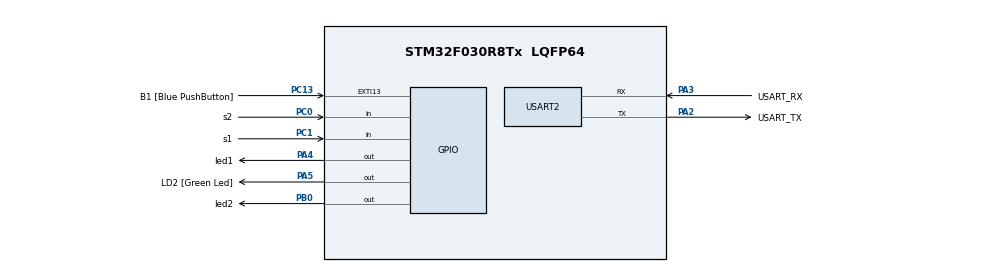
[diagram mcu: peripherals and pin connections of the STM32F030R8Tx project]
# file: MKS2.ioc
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Mcu.Family=STM32F0
Mcu.Name=STM32F030R8Tx
Mcu.Package=LQFP64
PA13.GPIO_Label=TMS
PA13.Mode=Serial_Wire
PA13.Signal=SYS_SWDIO
PA14.GPIO_Label=TCK
PA14.Mode=Serial_Wire
PA14.Signal=SYS_SWCLK
PA2.GPIO_Label=USART_TX
PA2.GPIO_Mode=GPIO_MODE_AF_PP
PA2.GPIO_PuPd=GPIO_NOPULL
PA2.GPIO_Speed=GPIO_SPEED_FREQ_LOW
PA2.Mode=Asynchronous
PA2.Signal=USART2_TX
PA3.GPIO_Label=USART_RX
PA3.GPIO_Mode=GPIO_MODE_AF_PP
PA3.GPIO_PuPd=GPIO_NOPULL
PA3.GPIO_Speed=GPIO_SPEED_FREQ_LOW
PA3.Mode=Asynchronous
PA3.Signal=USART2_RX
PA4.GPIO_Label=led1
PA4.Signal=GPIO_Output
PA5.GPIO_Label=LD2 [Green Led]
PA5.GPIO_Mode=GPIO_MODE_OUTPUT_PP
PA5.GPIO_PuPd=GPIO_NOPULL
PA5.GPIO_Speed=GPIO_SPEED_FREQ_LOW
PA5.Signal=GPIO_Output
PB0.GPIO_Label=led2
PB0.Signal=GPIO_Output
PC0.GPIO_Label=s2
PC0.GPIO_PuPd=GPIO_PULLUP
PC0.Signal=GPIO_Input
PC1.GPIO_Label=s1
PC1.GPIO_PuPd=GPIO_PULLUP
PC1.Signal=GPIO_Input
PC13.GPIO_Label=B1 [Blue PushButton]
PC13.GPIO_ModeDefaultEXTI=GPIO_MODE_IT_FALLING
PC13.Signal=GPXTI13
PC14-OSC32_IN.Mode=LSE-External-Oscillator
PC14-OSC32_IN.Signal=RCC_OSC32_IN
PC15-OSC32_OUT.Mode=LSE-External-Oscillator
PC15-OSC32_OUT.Signal=RCC_OSC32_OUT
PF0-OSC_IN.Mode=HSE-External-Clock-Source
PF0-OSC_IN.Signal=RCC_OSC_IN
PF1-OSC_OUT.Signal=RCC_OSC_OUT
ProjectManager.HeapSize=0x200
ProjectManager.StackSize=0x400
ProjectManager.TargetToolchain=STM32CubeIDE
RCC.AHBFreq_Value=48000000
RCC.APB1Freq_Value=48000000
RCC.APB1TimFreq_Value=48000000
RCC.HCLKFreq_Value=48000000
RCC.PLLMUL=RCC_PLL_MUL12
RCC.SYSCLKFreq_VALUE=48000000
RCC.SYSCLKSource=RCC_SYSCLKSOURCE_PLLCLK
USART2.VirtualMode-Asynchronous=VM_ASYNC
board=NUCLEO-F030R8

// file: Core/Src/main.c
/* USER CODE BEGIN Header */
/**
  ******************************************************************************
  * @file           : main.c
  * @brief          : Main program body
  ******************************************************************************
  * @attention
  *
  * Copyright (c) 2024 STMicroelectronics.
  * All rights reserved.
  *
  * This software is licensed under terms that can be found in the LICENSE file
  * in the root directory of this software component.
  * If no LICENSE file comes with this software, it is provided AS-IS.
  *
  ******************************************************************************
  */
/* USER CODE END Header */
#include "main.h"

/* USER CODE BEGIN PD */
#define LED_TIME_BLINK 300
#define LED_TIME_SHORT 50
#define LED_TIME_LONG 1000
#define LED_TIME_DLAY100 100
#define LED_TIME_DLAY5 5
/* USER CODE END PD */

/* USER CODE BEGIN PV */
	volatile uint32_t Tick;
/* USER CODE END PV */

void SystemClock_Config(void);
static void MX_GPIO_Init(void);
static void MX_USART2_UART_Init(void);

/* USER CODE BEGIN 0 */
void blink(void)
{
	static uint32_t delay;

	if (Tick > delay + LED_TIME_BLINK)
	{
		LL_GPIO_TogglePin(led2_GPIO_Port, led2_Pin);
		delay = Tick;
	}
}

void button(void)
{
	static uint32_t dlay;
	static uint32_t period;
	static uint32_t off_time;
	static uint16_t debounce = 0xFFFF;

	if (Tick > off_time)
	{
		LL_GPIO_ResetOutputPin(led1_GPIO_Port, led1_Pin);
	}

	if (Tick > period + LED_TIME_DLAY5)
	{
		period = Tick;
		debounce <<= 1;
		if(LL_GPIO_IsInputPinSet(s1_GPIO_Port, s1_Pin))
		{
			debounce |= 0x0001;
		}

		if (debounce == 0x8000)
		{
			off_time = Tick + LED_TIME_LONG;
			LL_GPIO_SetOutputPin(led1_GPIO_Port, led1_Pin);
		}
	}

	if (Tick > dlay + LED_TIME_DLAY100)
	{
		dlay = Tick;

		static uint32_t old_s2;
		uint32_t new_s2 = LL_GPIO_IsInputPinSet(s2_GPIO_Port, s2_Pin);
		if (old_s2 && !new_s2) { // falling edge
			off_time = Tick + LED_TIME_SHORT;
			LL_GPIO_SetOutputPin(led1_GPIO_Port, led1_Pin);
		}
		old_s2 = new_s2;
	}
}

/* USER CODE END 0 */

int main(void)
{

  /* MCU Configuration--------------------------------------------------------*/

  /* Reset of all peripherals, Initializes the Flash interface and the Systick. */
  LL_APB1_GRP2_EnableClock(LL_APB1_GRP2_PERIPH_SYSCFG);
  LL_APB1_GRP1_EnableClock(LL_APB1_GRP1_PERIPH_PWR);

  /* Configure the system clock */
  SystemClock_Config();

  /* Initialize all configured peripherals */
  MX_GPIO_Init();
  MX_USART2_UART_Init();
  /* USER CODE BEGIN 2 */

  LL_SYSTICK_EnableIT();

  /* USER CODE END 2 */

  /* Infinite loop */
  /* USER CODE BEGIN WHILE */
  while (1)
  {
	  //LL_GPIO_TogglePin(led1_GPIO_Port, led1_Pin);
	  //LL_GPIO_TogglePin(led2_GPIO_Port, led2_Pin);
	  //LL_mDelay(200);
	  button();
	  blink();

    /* USER CODE END WHILE */

  }
}

void SystemClock_Config(void)
{
  LL_FLASH_SetLatency(LL_FLASH_LATENCY_1);
  while(LL_FLASH_GetLatency() != LL_FLASH_LATENCY_1)
  {
  }
  LL_RCC_HSI_Enable();

   /* Wait till HSI is ready */
  while(LL_RCC_HSI_IsReady() != 1)
  {

  }
  LL_RCC_HSI_SetCalibTrimming(16);
  LL_RCC_PLL_ConfigDomain_SYS(LL_RCC_PLLSOURCE_HSI_DIV_2, LL_RCC_PLL_MUL_12);
  LL_RCC_PLL_Enable();

   /* Wait till PLL is ready */
  while(LL_RCC_PLL_IsReady() != 1)
  {

  }
  LL_RCC_SetAHBPrescaler(LL_RCC_SYSCLK_DIV_1);
  LL_RCC_SetAPB1Prescaler(LL_RCC_APB1_DIV_1);
  LL_RCC_SetSysClkSource(LL_RCC_SYS_CLKSOURCE_PLL);

   /* Wait till System clock is ready */
  while(LL_RCC_GetSysClkSource() != LL_RCC_SYS_CLKSOURCE_STATUS_PLL)
  {

  }
  LL_Init1msTick(48000000);
  LL_SetSystemCoreClock(48000000);
}

static void MX_USART2_UART_Init(void)
{

  LL_USART_InitTypeDef USART_InitStruct = {0};

  LL_GPIO_InitTypeDef GPIO_InitStruct = {0};

  /* Peripheral clock enable */
  LL_APB1_GRP1_EnableClock(LL_APB1_GRP1_PERIPH_USART2);

  LL_AHB1_GRP1_EnableClock(LL_AHB1_GRP1_PERIPH_GPIOA);
  /**USART2 GPIO Configuration
  PA2   ------> USART2_TX
  PA3   ------> USART2_RX
  */
  GPIO_InitStruct.Pin = USART_TX_Pin;
  GPIO_InitStruct.Mode = LL_GPIO_MODE_ALTERNATE;
  GPIO_InitStruct.Speed = LL_GPIO_SPEED_FREQ_LOW;
  GPIO_InitStruct.OutputType = LL_GPIO_OUTPUT_PUSHPULL;
  GPIO_InitStruct.Pull = LL_GPIO_PULL_NO;
  GPIO_InitStruct.Alternate = LL_GPIO_AF_1;
  LL_GPIO_Init(USART_TX_GPIO_Port, &GPIO_InitStruct);

  GPIO_InitStruct.Pin = USART_RX_Pin;
  GPIO_InitStruct.Mode = LL_GPIO_MODE_ALTERNATE;
  GPIO_InitStruct.Speed = LL_GPIO_SPEED_FREQ_LOW;
  GPIO_InitStruct.OutputType = LL_GPIO_OUTPUT_PUSHPULL;
  GPIO_InitStruct.Pull = LL_GPIO_PULL_NO;
  GPIO_InitStruct.Alternate = LL_GPIO_AF_1;
  LL_GPIO_Init(USART_RX_GPIO_Port, &GPIO_InitStruct);

  USART_InitStruct.BaudRate = 38400;
  USART_InitStruct.DataWidth = LL_USART_DATAWIDTH_8B;
  USART_InitStruct.StopBits = LL_USART_STOPBITS_1;
  USART_InitStruct.Parity = LL_USART_PARITY_NONE;
  USART_InitStruct.TransferDirection = LL_USART_DIRECTION_TX_RX;
  USART_InitStruct.HardwareFlowControl = LL_USART_HWCONTROL_NONE;
  USART_InitStruct.OverSampling = LL_USART_OVERSAMPLING_16;
  LL_USART_Init(USART2, &USART_InitStruct);
  LL_USART_DisableIT_CTS(USART2);
  LL_USART_ConfigAsyncMode(USART2);
  LL_USART_Enable(USART2);

}

static void MX_GPIO_Init(void)
{
  LL_EXTI_InitTypeDef EXTI_InitStruct = {0};
  LL_GPIO_InitTypeDef GPIO_InitStruct = {0};

  /* GPIO Ports Clock Enable */
  LL_AHB1_GRP1_EnableClock(LL_AHB1_GRP1_PERIPH_GPIOC);
  LL_AHB1_GRP1_EnableClock(LL_AHB1_GRP1_PERIPH_GPIOF);
  LL_AHB1_GRP1_EnableClock(LL_AHB1_GRP1_PERIPH_GPIOA);
  LL_AHB1_GRP1_EnableClock(LL_AHB1_GRP1_PERIPH_GPIOB);

  /**/
  LL_GPIO_ResetOutputPin(led1_GPIO_Port, led1_Pin);

  /**/
  LL_GPIO_ResetOutputPin(LD2_GPIO_Port, LD2_Pin);

  /**/
  LL_GPIO_ResetOutputPin(led2_GPIO_Port, led2_Pin);

  /**/
  LL_SYSCFG_SetEXTISource(LL_SYSCFG_EXTI_PORTC, LL_SYSCFG_EXTI_LINE13);

  /**/
  LL_GPIO_SetPinPull(B1_GPIO_Port, B1_Pin, LL_GPIO_PULL_NO);

  /**/
  LL_GPIO_SetPinMode(B1_GPIO_Port, B1_Pin, LL_GPIO_MODE_INPUT);

  /**/
  EXTI_InitStruct.Line_0_31 = LL_EXTI_LINE_13;
  EXTI_InitStruct.LineCommand = ENABLE;
  EXTI_InitStruct.Mode = LL_EXTI_MODE_IT;
  EXTI_InitStruct.Trigger = LL_EXTI_TRIGGER_FALLING;
  LL_EXTI_Init(&EXTI_InitStruct);

  /**/
  GPIO_InitStruct.Pin = s2_Pin;
  GPIO_InitStruct.Mode = LL_GPIO_MODE_INPUT;
  GPIO_InitStruct.Pull = LL_GPIO_PULL_UP;
  LL_GPIO_Init(s2_GPIO_Port, &GPIO_InitStruct);

  /**/
  GPIO_InitStruct.Pin = s1_Pin;
  GPIO_InitStruct.Mode = LL_GPIO_MODE_INPUT;
  GPIO_InitStruct.Pull = LL_GPIO_PULL_UP;
  LL_GPIO_Init(s1_GPIO_Port, &GPIO_InitStruct);

  /**/
  GPIO_InitStruct.Pin = led1_Pin;
  GPIO_InitStruct.Mode = LL_GPIO_MODE_OUTPUT;
  GPIO_InitStruct.Speed = LL_GPIO_SPEED_FREQ_LOW;
  GPIO_InitStruct.OutputType = LL_GPIO_OUTPUT_PUSHPULL;
  GPIO_InitStruct.Pull = LL_GPIO_PULL_NO;
  LL_GPIO_Init(led1_GPIO_Port, &GPIO_InitStruct);

  /**/
  GPIO_InitStruct.Pin = LD2_Pin;
  GPIO_InitStruct.Mode = LL_GPIO_MODE_OUTPUT;
  GPIO_InitStruct.Speed = LL_GPIO_SPEED_FREQ_LOW;
  GPIO_InitStruct.OutputType = LL_GPIO_OUTPUT_PUSHPULL;
  GPIO_InitStruct.Pull = LL_GPIO_PULL_NO;
  LL_GPIO_Init(LD2_GPIO_Port, &GPIO_InitStruct);

  /**/
  GPIO_InitStruct.Pin = led2_Pin;
  GPIO_InitStruct.Mode = LL_GPIO_MODE_OUTPUT;
  GPIO_InitStruct.Speed = LL_GPIO_SPEED_FREQ_LOW;
  GPIO_InitStruct.OutputType = LL_GPIO_OUTPUT_PUSHPULL;
  GPIO_InitStruct.Pull = LL_GPIO_PULL_NO;
  LL_GPIO_Init(led2_GPIO_Port, &GPIO_InitStruct);

}

void Error_Handler(void)
{
  __disable_irq();
  while (1)
  {
  }
}
